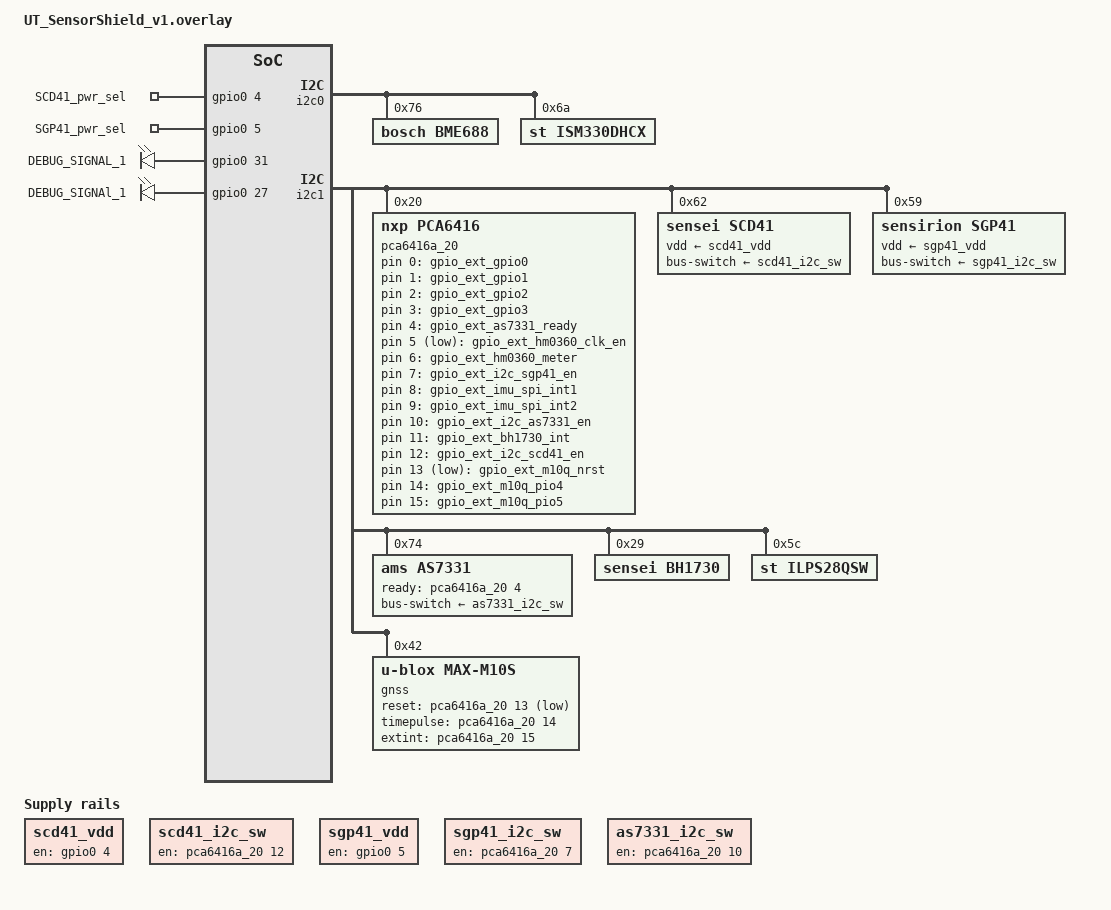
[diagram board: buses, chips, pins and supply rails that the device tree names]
// Copyright (c) 2025 ETH Zurich and University of Bologna
// SPDX-License-Identifier: Apache-2.0

 / {
    gpio_external {
        compatible = "gpio-keys";
        gpio_ext_gpio0: pca6416a_20p0 {
            gpios = <&pca6416a_20 0 GPIO_ACTIVE_HIGH>;
        };
        gpio_ext_gpio1: pca6416a_20p1 {
            gpios = <&pca6416a_20 1 GPIO_ACTIVE_HIGH>;
        };
        gpio_ext_gpio2: pca6416a_20p2 {
            gpios = <&pca6416a_20 2 GPIO_ACTIVE_HIGH>;
        };
        gpio_ext_gpio3: pca6416a_20p3 {
            gpios = <&pca6416a_20 3 GPIO_ACTIVE_HIGH>;
        };
        gpio_ext_as7331_ready: pca6416a_20p4 {
            gpios = <&pca6416a_20 4 GPIO_ACTIVE_HIGH>;
        };
        /* Camera clock gate. The pin is active low in this tree: logical active (pin low) gates the clock,
         * logical inactive runs it. The hog below gates it from the moment the expander starts. */
        gpio_ext_hm0360_clk_en: pca6416a_20p5 {
            gpios = <&pca6416a_20 5 GPIO_ACTIVE_LOW>;
        };
        gpio_ext_hm0360_meter: pca6416a_20p6 {
            gpios = <&pca6416a_20 6 GPIO_ACTIVE_HIGH>;
        };
        gpio_ext_i2c_sgp41_en: pca6416a_20p7 {
            gpios = <&pca6416a_20 7 GPIO_ACTIVE_HIGH>;
        };
        gpio_ext_imu_spi_int1: pca6416a_20p8 {
            gpios = <&pca6416a_20 8 GPIO_ACTIVE_HIGH>;
        };
        gpio_ext_imu_spi_int2: pca6416a_20p9 {
            gpios = <&pca6416a_20 9 GPIO_ACTIVE_HIGH>;
        };
        gpio_ext_i2c_as7331_en: pca6416a_20p10 {
            gpios = <&pca6416a_20 10 GPIO_ACTIVE_HIGH>;
        };
        gpio_ext_bh1730_int: pca6416a_20p11 {
            gpios = <&pca6416a_20 11 GPIO_ACTIVE_HIGH>;
        };
        gpio_ext_i2c_scd41_en: pca6416a_20p12 {
            gpios = <&pca6416a_20 12 GPIO_ACTIVE_HIGH>;
        };
        gpio_ext_m10q_nrst: pca6416a_20p13 {
            gpios = <&pca6416a_20 13 GPIO_ACTIVE_LOW>;
        };
        gpio_ext_m10q_pio4: pca6416a_20p14 {
            gpios = <&pca6416a_20 14 GPIO_ACTIVE_HIGH>;
        };
        gpio_ext_m10q_pio5: pca6416a_20p15 {
            gpios = <&pca6416a_20 15 GPIO_ACTIVE_HIGH>;
        };
    };

	/*
	 * Power switches of the sensors. The rails are nRF5340 GPIOs (P0.04, P0.05), the I2C isolation switches
	 * sit on the expander (P7, P10, P12). The sensor drivers enable them through vdd-supply and
	 * bus-switch-supply when a sensor is resumed (pm_device_runtime_get) and disable them when it is
	 * suspended. The startup delays are the power-up waits of the sensors. The gpio_scd41_pwr, gpio_sgp41_pwr
	 * and gpio_ext_i2c_* labels name the same pins for code that drives them directly; do not use both ways in
	 * one application. The debug board shield uses P0.04 and P0.05 too: disable these regulators with it.
	 */
	scd41_vdd: regulator-scd41-vdd {
		compatible = "regulator-fixed";
		regulator-name = "scd41-vdd";
		enable-gpios = <&gpio0 4 GPIO_ACTIVE_HIGH>;
		startup-delay-us = <1000000>; /* power-up time of the SCD4x, datasheet 3.1 */
	};

	scd41_i2c_sw: regulator-scd41-i2c-sw {
		compatible = "regulator-fixed";
		regulator-name = "scd41-i2c-sw";
		enable-gpios = <&pca6416a_20 12 GPIO_ACTIVE_HIGH>;
	};

	sgp41_vdd: regulator-sgp41-vdd {
		compatible = "regulator-fixed";
		regulator-name = "sgp41-vdd";
		enable-gpios = <&gpio0 5 GPIO_ACTIVE_HIGH>;
		startup-delay-us = <50000>;
	};

	sgp41_i2c_sw: regulator-sgp41-i2c-sw {
		compatible = "regulator-fixed";
		regulator-name = "sgp41-i2c-sw";
		enable-gpios = <&pca6416a_20 7 GPIO_ACTIVE_HIGH>;
	};

	as7331_i2c_sw: regulator-as7331-i2c-sw {
		compatible = "regulator-fixed";
		regulator-name = "as7331-i2c-sw";
		enable-gpios = <&pca6416a_20 10 GPIO_ACTIVE_HIGH>;
		startup-delay-us = <10000>;
	};

	sensei_pwr: sensei_pwr {
		compatible = "gpio-leds";
		gpio_scd41_pwr: gpio_scd41_pwr {
			gpios = <&gpio0 4 GPIO_ACTIVE_HIGH>;
			label = "SCD41_pwr_sel";
		};
		gpio_sgp41_pwr: gpio_sgp41_pwr {
			gpios = <&gpio0 5 GPIO_ACTIVE_HIGH>;
			label = "SGP41_pwr_sel";
		};

        gpio_debug_signal_1: gpio_debug_signal_1 {
            gpios = <&gpio0 31 GPIO_ACTIVE_HIGH>;
            label = "DEBUG_SIGNAL_1";
        };
        gpio_debug_signal_2: gpio_debug_signal_2 {
            gpios = <&gpio0 27 GPIO_ACTIVE_HIGH>;
            label = "DEBUG_SIGNAl_1";
        };
	};
};

&i2c0 {
	status = "okay";
	/* BME688 on I2C_A, 0x76. Not power gated. Driver in NRF/drivers/sensor (Bosch API, forced mode). */
	bme688: bme688@76 {
		compatible = "bosch,bme688";
		reg = <0x76>;
		status = "okay";
	};

	/*
	 * ISM330DHCX IMU. The shield schematic puts it on I2C_A (i2c0), SA0 low, so 0x6A. INT1 and
	 * INT2 go to expander pins 8 and 9, which are not wired to an interrupt line: polling only.
	 * Zephyr driver (needs hal_st). Both sensors are powered down until an odr is set.
	 */
	ism330dhcx: ism330dhcx@6a {
		compatible = "st,ism330dhcx";
		reg = <0x6a>;
	};
};

&i2c1 {
	status = "okay";
    pca6416a_20: pca6416a@20 {
        compatible = "nxp,pca6416";
        reg = < 0x20 >;
        gpio-controller;
        ngpios = < 16 >;
        #gpio-cells = < 2 >;

        /* HM0360 camera clock off (gated) until the GAP9 camera job needs it. */
        hm0360-clk-gate-hog {
            gpio-hog;
            gpios = <5 GPIO_ACTIVE_LOW>;
            output-high;
        };
    };

    /* SCD41 CO2 sensor on I2C_B, 0x62: rail P0.04, bus switch P12. Driver in NRF/drivers/sensor. */
    scd41: scd41@62 {
        compatible = "sensei,scd41";
        reg = <0x62>;
        vdd-supply = <&scd41_vdd>;
        bus-switch-supply = <&scd41_i2c_sw>;
    };

    /* SGP41 VOC and NOx sensor on I2C_B, 0x59: rail P0.05, bus switch P7. */
    sgp41: sgp41@59 {
        compatible = "sensirion,sgp41";
        reg = <0x59>;
        vdd-supply = <&sgp41_vdd>;
        bus-switch-supply = <&sgp41_i2c_sw>;
    };

    /* AS7331 UV sensor on I2C_B, 0x74: no rail switch, bus switch P10, READY on P4. */
    as7331: as7331@74 {
        compatible = "ams,as7331";
        reg = <0x74>;
        bus-switch-supply = <&as7331_i2c_sw>;
        ready-gpios = <&pca6416a_20 4 GPIO_ACTIVE_HIGH>;
    };

    /* BH1730FVC light sensor on I2C_B, 0x29. No switch: software power-down. */
    bh1730: bh1730@29 {
        compatible = "sensei,bh1730";
        reg = <0x29>;
    };

    /* ILPS28QSW pressure sensor on I2C_B, 0x5C. Not power gated. Driver in NRF/drivers/sensor. */
    ilps28qsw: ilps28qsw@5c {
        compatible = "st,ilps28qsw";
        reg = <0x5c>;
    };

    /* MAX-M10S GNSS, driver in NRF/drivers/gnss. RESET_N, TIMEPULSE (also SAFEBOOT_N, keep it an
     * input) and EXTINT are on the expander. SAFEBOOT_N itself has no net on the shield. */
    gnss: gnss@42 {
        compatible = "u-blox,max-m10s";
        reg = <0x42>;
        reset-gpios = <&pca6416a_20 13 GPIO_ACTIVE_LOW>;
        timepulse-gpios = <&pca6416a_20 14 GPIO_ACTIVE_HIGH>;
        extint-gpios = <&pca6416a_20 15 GPIO_ACTIVE_HIGH>;
        /* No traffic or fixes until the application wakes the module. */
        standby-at-boot;
    };
};
